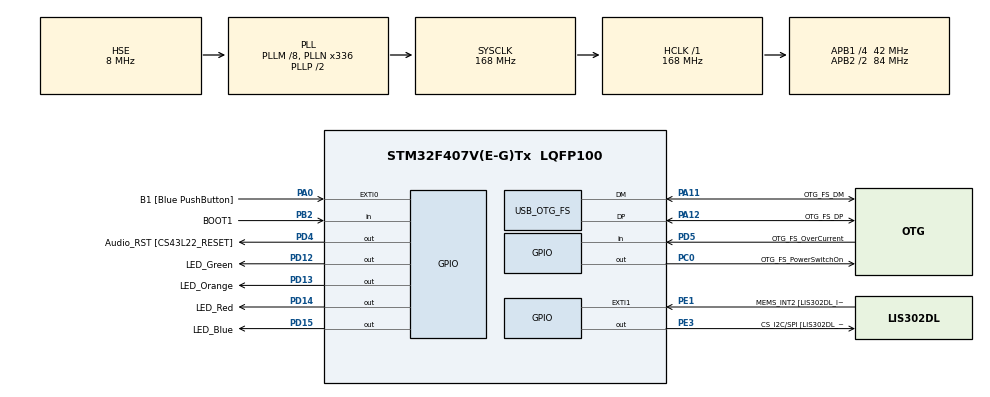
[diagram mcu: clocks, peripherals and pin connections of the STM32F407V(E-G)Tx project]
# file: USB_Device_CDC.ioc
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Mcu.Family=STM32F4
Mcu.Name=STM32F407V(E-G)Tx
Mcu.Package=LQFP100
NVIC.OTG_FS_IRQn=true\:0\:0\:false\:false\:true\:true\:true\:true
NVIC.PriorityGroup=NVIC_PRIORITYGROUP_0
NVIC.TIM1_UP_TIM10_IRQn=true\:0\:0\:false\:false\:true\:true\:true\:true
PA0-WKUP.GPIO_Label=B1 [Blue PushButton]
PA0-WKUP.GPIO_ModeDefaultEXTI=GPIO_MODE_EVT_RISING
PA0-WKUP.GPIO_PuPd=GPIO_NOPULL
PA0-WKUP.Signal=GPXTI0
PA10.GPIO_Label=OTG_FS_ID
PA10.GPIO_Mode=GPIO_MODE_AF_PP
PA10.GPIO_PuPd=GPIO_NOPULL
PA10.GPIO_Speed=GPIO_SPEED_FREQ_LOW
PA10.Signal=USB_OTG_FS_ID
PA11.GPIO_Label=OTG_FS_DM
PA11.GPIO_Mode=GPIO_MODE_AF_PP
PA11.GPIO_PuPd=GPIO_NOPULL
PA11.GPIO_Speed=GPIO_SPEED_FREQ_LOW
PA11.Mode=Device_Only
PA11.Signal=USB_OTG_FS_DM
PA12.GPIO_Label=OTG_FS_DP
PA12.GPIO_Mode=GPIO_MODE_AF_PP
PA12.GPIO_PuPd=GPIO_NOPULL
PA12.GPIO_Speed=GPIO_SPEED_FREQ_LOW
PA12.Mode=Device_Only
PA12.Signal=USB_OTG_FS_DP
PA13.GPIO_Label=SWDIO
PA13.Mode=Serial_Wire
PA13.Signal=SYS_JTMS-SWDIO
PA14.GPIO_Label=SWCLK
PA14.Mode=Serial_Wire
PA14.Signal=SYS_JTCK-SWCLK
PA4.GPIO_Label=I2S3_WS [CS43L22_LRCK]
PA4.GPIO_Mode=GPIO_MODE_AF_PP
PA4.GPIO_PuPd=GPIO_NOPULL
PA4.GPIO_Speed=GPIO_SPEED_FREQ_LOW
PA4.Signal=I2S3_WS
PA5.GPIO_Label=SPI1_SCK [LIS302DL_SCL/SPC]
PA5.GPIO_Mode=GPIO_MODE_AF_PP
PA5.GPIO_PuPd=GPIO_NOPULL
PA5.GPIO_Speed=GPIO_SPEED_FREQ_LOW
PA5.Signal=SPI1_SCK
PA6.GPIO_Label=SPI1_MISO [LIS302DL_SDO]
PA6.GPIO_Mode=GPIO_MODE_AF_PP
PA6.GPIO_PuPd=GPIO_NOPULL
PA6.GPIO_Speed=GPIO_SPEED_FREQ_LOW
PA6.Signal=SPI1_MISO
PA7.GPIO_Label=SPI1_MOSI [LIS302DL_SDA/SDI/SDO]
PA7.GPIO_Mode=GPIO_MODE_AF_PP
PA7.GPIO_PuPd=GPIO_NOPULL
PA7.GPIO_Speed=GPIO_SPEED_FREQ_LOW
PA7.Signal=SPI1_MOSI
PA9.GPIO_Label=VBUS_FS
PA9.GPIO_Mode=GPIO_MODE_INPUT
PA9.GPIO_PuPd=GPIO_NOPULL
PA9.Signal=USB_OTG_FS_VBUS
PB10.GPIO_Label=CLK_IN [MP45DT02_CLK]
PB10.GPIO_Mode=GPIO_MODE_AF_PP
PB10.GPIO_PuPd=GPIO_NOPULL
PB10.GPIO_Speed=GPIO_SPEED_FREQ_LOW
PB10.Signal=I2S2_CK
PB2.GPIO_Label=BOOT1
PB2.GPIO_Mode=GPIO_MODE_INPUT
PB2.GPIO_PuPd=GPIO_NOPULL
PB2.Signal=GPIO_Input
PB3.GPIO_Label=SWO
PB3.Signal=SYS_JTDO-SWO
PB6.GPIO_Label=Audio_SCL [CS43L22_SCL]
PB6.GPIO_Mode=GPIO_MODE_AF_OD
PB6.GPIO_Pu=GPIO_PULLUP
PB6.GPIO_PuPd=GPIO_NOPULL
PB6.GPIO_Speed=GPIO_SPEED_FREQ_LOW
PB6.Signal=I2C1_SCL
PB9.GPIO_Label=Audio_SDA [CS43L22_SDA]
PB9.GPIO_Mode=GPIO_MODE_AF_OD
PB9.GPIO_Pu=GPIO_PULLUP
PB9.GPIO_PuPd=GPIO_NOPULL
PB9.GPIO_Speed=GPIO_SPEED_FREQ_LOW
PB9.Signal=I2C1_SDA
PC0.GPIO_Label=OTG_FS_PowerSwitchOn
PC0.GPIO_PuPd=GPIO_NOPULL
PC0.GPIO_Speed=GPIO_SPEED_FREQ_LOW
PC0.PinState=GPIO_PIN_SET
PC0.Signal=GPIO_Output
PC10.GPIO_Label=I2S3_SCK [CS43L22_SCLK]
PC10.GPIO_Mode=GPIO_MODE_AF_PP
PC10.GPIO_PuPd=GPIO_NOPULL
PC10.GPIO_Speed=GPIO_SPEED_FREQ_LOW
PC10.Signal=I2S3_CK
PC12.GPIO_Label=I2S3_SD [CS43L22_SDIN]
PC12.GPIO_Mode=GPIO_MODE_AF_PP
PC12.GPIO_PuPd=GPIO_NOPULL
PC12.GPIO_Speed=GPIO_SPEED_FREQ_LOW
PC12.Signal=I2S3_SD
PC14-OSC32_IN.GPIO_Label=PC14-OSC32_IN
PC14-OSC32_IN.Mode=LSE-External-Oscillator
PC14-OSC32_IN.Signal=RCC_OSC32_IN
PC15-OSC32_OUT.GPIO_Label=PC15-OSC32_OUT
PC15-OSC32_OUT.Mode=LSE-External-Oscillator
PC15-OSC32_OUT.Signal=RCC_OSC32_OUT
PC3.GPIO_Label=PDM_OUT [MP45DT02_DOUT]
PC3.GPIO_Mode=GPIO_MODE_AF_PP
PC3.GPIO_PuPd=GPIO_NOPULL
PC3.GPIO_Speed=GPIO_SPEED_FREQ_LOW
PC3.Signal=I2S2_SD
PC7.GPIO_Label=I2S3_MCK [CS43L22_MCLK]
PC7.GPIO_Mode=GPIO_MODE_AF_PP
PC7.GPIO_PuPd=GPIO_NOPULL
PC7.GPIO_Speed=GPIO_SPEED_FREQ_LOW
PC7.Signal=I2S3_MCK
PD12.GPIO_Label=LED_Green
PD12.GPIO_PuPd=GPIO_NOPULL
PD12.GPIO_Speed=GPIO_SPEED_FREQ_LOW
PD12.Signal=GPIO_Output
PD13.GPIO_Label=LED_Orange
PD13.GPIO_PuPd=GPIO_NOPULL
PD13.GPIO_Speed=GPIO_SPEED_FREQ_LOW
PD13.Signal=GPIO_Output
PD14.GPIO_Label=LED_Red
PD14.GPIO_PuPd=GPIO_NOPULL
PD14.GPIO_Speed=GPIO_SPEED_FREQ_LOW
PD14.Signal=GPIO_Output
PD15.GPIO_Label=LED_Blue
PD15.GPIO_PuPd=GPIO_NOPULL
PD15.GPIO_Speed=GPIO_SPEED_FREQ_LOW
PD15.Signal=GPIO_Output
PD4.GPIO_Label=Audio_RST [CS43L22_RESET]
PD4.GPIO_PuPd=GPIO_NOPULL
PD4.GPIO_Speed=GPIO_SPEED_FREQ_LOW
PD4.Signal=GPIO_Output
PD5.GPIO_Label=OTG_FS_OverCurrent
PD5.GPIO_Mode=GPIO_MODE_INPUT
PD5.GPIO_PuPd=GPIO_NOPULL
PD5.Signal=GPIO_Input
PE1.GPIO_Label=MEMS_INT2 [LIS302DL_INT2]
PE1.GPIO_ModeDefaultEXTI=GPIO_MODE_EVT_RISING
PE1.GPIO_PuPd=GPIO_NOPULL
PE1.Signal=GPXTI1
PE3.GPIO_Label=CS_I2C/SPI [LIS302DL_CS_I2C/SPI]
PE3.GPIO_PuPd=GPIO_NOPULL
PE3.GPIO_Speed=GPIO_SPEED_FREQ_LOW
PE3.Signal=GPIO_Output
PH0-OSC_IN.GPIO_Label=PH0-OSC_IN
PH0-OSC_IN.Mode=HSE-External-Oscillator
PH0-OSC_IN.Signal=RCC_OSC_IN
PH1-OSC_OUT.GPIO_Label=PH1-OSC_OUT
PH1-OSC_OUT.Mode=HSE-External-Oscillator
PH1-OSC_OUT.Signal=RCC_OSC_OUT
ProjectManager.HeapSize=0x200
ProjectManager.StackSize=0x400
ProjectManager.TargetToolchain=STM32CubeIDE
RCC.48MHZClocksFreq_Value=48000000
RCC.AHBFreq_Value=168000000
RCC.APB1CLKDivider=RCC_HCLK_DIV4
RCC.APB1Freq_Value=42000000
RCC.APB1TimFreq_Value=84000000
RCC.APB2CLKDivider=RCC_HCLK_DIV2
RCC.APB2Freq_Value=84000000
RCC.APB2TimFreq_Value=168000000
RCC.CortexFreq_Value=168000000
RCC.HCLKFreq_Value=168000000
RCC.HSE_VALUE=8000000
RCC.HSI_VALUE=16000000
RCC.PLLM=8
RCC.PLLN=336
RCC.PLLQ=7
RCC.SYSCLKFreq_VALUE=168000000
RCC.SYSCLKSource=RCC_SYSCLKSOURCE_PLLCLK
RCC.VCOOutputFreq_Value=336000000
TIM10.AutoReloadPreload=TIM_AUTORELOAD_PRELOAD_DISABLE
TIM10.Period=10000-1
TIM10.Prescaler=16800-1
USB_DEVICE.CLASS_NAME_FS=CDC
USB_DEVICE.VirtualMode-CDC_FS=Cdc
USB_DEVICE.VirtualModeFS=Cdc_FS
USB_OTG_FS.VirtualMode=Device_Only
VP_TIM10_VS_ClockSourceINT.Mode=Enable_Timer
VP_USB_DEVICE_VS_USB_DEVICE_CDC_FS.Mode=CDC_FS
board=STM32F407G-DISC1

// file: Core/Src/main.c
/* USER CODE BEGIN Header */
/*
******************************************************************************
* @file: main.c
* @author: Jabed-Akhtar (Github)
* @date: 2025-01-05
******************************************************************************
* Example:
* 	- Add numbers		: CALC SUM intNum1 intNum2 intNum3 ...
* 		-> CALC SUM 12 10 8 -> Summed number: 30
* 	- Subtract numbers	: CALC SUB intNum1 intNum2  intNum3 ...
* 		-> CALC SUB 12 10 5	-> Subtracted number: -3
******************************************************************************
*/
/* USER CODE END Header */
#include "main.h"
#include "usb_device.h"

/* USER CODE BEGIN Includes */
#include <stdio.h> // For sprintf
#include <stdint.h> // For uint16_t, uint32_t
#include <string.h>
#include "usbd_cdc_if.h"
/* USER CODE END Includes */

/* USER CODE BEGIN PD */
#define USB_TX_BUFFER 64
/* USER CODE END PD */

TIM_HandleTypeDef htim10;

/* USER CODE BEGIN PV */
uint8_t msg_usb_data_recvd[USB_TX_BUFFER] = "Data recvd confirmation!\r\n";
char Usb_Tx_Buffer_Periodic[USB_TX_BUFFER];
uint8_t counter_periodic = 0;
char Usb_Tx_Buffer_Calc_Ans[USB_TX_BUFFER];
/* USER CODE END PV */

void SystemClock_Config(void);
static void MX_GPIO_Init(void);
static void MX_TIM10_Init(void);
/* USER CODE BEGIN PFP */
void do_calc(char* command);
/* USER CODE END PFP */

int main(void)
{

  /* MCU Configuration--------------------------------------------------------*/

  /* Reset of all peripherals, Initializes the Flash interface and the Systick. */
  HAL_Init();

  /* Configure the system clock */
  SystemClock_Config();

  /* Initialize all configured peripherals */
  MX_GPIO_Init();
  MX_USB_DEVICE_Init();
  MX_TIM10_Init();
  /* USER CODE BEGIN 2 */
  HAL_TIM_Base_Start_IT(&htim10);
  /* USER CODE END 2 */

  /* Infinite loop */
  /* USER CODE BEGIN WHILE */
  while (1)
  {
	  __WFI();
    /* USER CODE END WHILE */

  }
}

void SystemClock_Config(void)
{
  RCC_OscInitTypeDef RCC_OscInitStruct = {0};
  RCC_ClkInitTypeDef RCC_ClkInitStruct = {0};

  /** Configure the main internal regulator output voltage
  */
  __HAL_RCC_PWR_CLK_ENABLE();
  __HAL_PWR_VOLTAGESCALING_CONFIG(PWR_REGULATOR_VOLTAGE_SCALE1);

  /** Initializes the RCC Oscillators according to the specified parameters
  * in the RCC_OscInitTypeDef structure.
  */
  RCC_OscInitStruct.OscillatorType = RCC_OSCILLATORTYPE_HSE;
  RCC_OscInitStruct.HSEState = RCC_HSE_ON;
  RCC_OscInitStruct.PLL.PLLState = RCC_PLL_ON;
  RCC_OscInitStruct.PLL.PLLSource = RCC_PLLSOURCE_HSE;
  RCC_OscInitStruct.PLL.PLLM = 8;
  RCC_OscInitStruct.PLL.PLLN = 336;
  RCC_OscInitStruct.PLL.PLLP = RCC_PLLP_DIV2;
  RCC_OscInitStruct.PLL.PLLQ = 7;
  if (HAL_RCC_OscConfig(&RCC_OscInitStruct) != HAL_OK)
  {
    Error_Handler();
  }

  /** Initializes the CPU, AHB and APB buses clocks
  */
  RCC_ClkInitStruct.ClockType = RCC_CLOCKTYPE_HCLK|RCC_CLOCKTYPE_SYSCLK
                              |RCC_CLOCKTYPE_PCLK1|RCC_CLOCKTYPE_PCLK2;
  RCC_ClkInitStruct.SYSCLKSource = RCC_SYSCLKSOURCE_PLLCLK;
  RCC_ClkInitStruct.AHBCLKDivider = RCC_SYSCLK_DIV1;
  RCC_ClkInitStruct.APB1CLKDivider = RCC_HCLK_DIV4;
  RCC_ClkInitStruct.APB2CLKDivider = RCC_HCLK_DIV2;

  if (HAL_RCC_ClockConfig(&RCC_ClkInitStruct, FLASH_LATENCY_5) != HAL_OK)
  {
    Error_Handler();
  }
}

static void MX_TIM10_Init(void)
{

  htim10.Instance = TIM10;
  htim10.Init.Prescaler = 16800-1;
  htim10.Init.CounterMode = TIM_COUNTERMODE_UP;
  htim10.Init.Period = 10000-1;
  htim10.Init.ClockDivision = TIM_CLOCKDIVISION_DIV1;
  htim10.Init.AutoReloadPreload = TIM_AUTORELOAD_PRELOAD_DISABLE;
  if (HAL_TIM_Base_Init(&htim10) != HAL_OK)
  {
    Error_Handler();
  }

}

static void MX_GPIO_Init(void)
{
  GPIO_InitTypeDef GPIO_InitStruct = {0};

  /* GPIO Ports Clock Enable */
  __HAL_RCC_GPIOE_CLK_ENABLE();
  __HAL_RCC_GPIOC_CLK_ENABLE();
  __HAL_RCC_GPIOH_CLK_ENABLE();
  __HAL_RCC_GPIOA_CLK_ENABLE();
  __HAL_RCC_GPIOB_CLK_ENABLE();
  __HAL_RCC_GPIOD_CLK_ENABLE();

  /*Configure GPIO pin Output Level */
  HAL_GPIO_WritePin(CS_I2C_SPI_GPIO_Port, CS_I2C_SPI_Pin, GPIO_PIN_RESET);

  /*Configure GPIO pin Output Level */
  HAL_GPIO_WritePin(OTG_FS_PowerSwitchOn_GPIO_Port, OTG_FS_PowerSwitchOn_Pin, GPIO_PIN_SET);

  /*Configure GPIO pin Output Level */
  HAL_GPIO_WritePin(GPIOD, LED_Green_Pin|LED_Orange_Pin|LED_Red_Pin|LED_Blue_Pin
                          |Audio_RST_Pin, GPIO_PIN_RESET);

  /*Configure GPIO pin : CS_I2C_SPI_Pin */
  GPIO_InitStruct.Pin = CS_I2C_SPI_Pin;
  GPIO_InitStruct.Mode = GPIO_MODE_OUTPUT_PP;
  GPIO_InitStruct.Pull = GPIO_NOPULL;
  GPIO_InitStruct.Speed = GPIO_SPEED_FREQ_LOW;
  HAL_GPIO_Init(CS_I2C_SPI_GPIO_Port, &GPIO_InitStruct);

  /*Configure GPIO pin : OTG_FS_PowerSwitchOn_Pin */
  GPIO_InitStruct.Pin = OTG_FS_PowerSwitchOn_Pin;
  GPIO_InitStruct.Mode = GPIO_MODE_OUTPUT_PP;
  GPIO_InitStruct.Pull = GPIO_NOPULL;
  GPIO_InitStruct.Speed = GPIO_SPEED_FREQ_LOW;
  HAL_GPIO_Init(OTG_FS_PowerSwitchOn_GPIO_Port, &GPIO_InitStruct);

  /*Configure GPIO pin : PDM_OUT_Pin */
  GPIO_InitStruct.Pin = PDM_OUT_Pin;
  GPIO_InitStruct.Mode = GPIO_MODE_AF_PP;
  GPIO_InitStruct.Pull = GPIO_NOPULL;
  GPIO_InitStruct.Speed = GPIO_SPEED_FREQ_LOW;
  GPIO_InitStruct.Alternate = GPIO_AF5_SPI2;
  HAL_GPIO_Init(PDM_OUT_GPIO_Port, &GPIO_InitStruct);

  /*Configure GPIO pin : B1_Pin */
  GPIO_InitStruct.Pin = B1_Pin;
  GPIO_InitStruct.Mode = GPIO_MODE_EVT_RISING;
  GPIO_InitStruct.Pull = GPIO_NOPULL;
  HAL_GPIO_Init(B1_GPIO_Port, &GPIO_InitStruct);

  /*Configure GPIO pin : I2S3_WS_Pin */
  GPIO_InitStruct.Pin = I2S3_WS_Pin;
  GPIO_InitStruct.Mode = GPIO_MODE_AF_PP;
  GPIO_InitStruct.Pull = GPIO_NOPULL;
  GPIO_InitStruct.Speed = GPIO_SPEED_FREQ_LOW;
  GPIO_InitStruct.Alternate = GPIO_AF6_SPI3;
  HAL_GPIO_Init(I2S3_WS_GPIO_Port, &GPIO_InitStruct);

  /*Configure GPIO pins : SPI1_SCK_Pin SPI1_MISO_Pin SPI1_MOSI_Pin */
  GPIO_InitStruct.Pin = SPI1_SCK_Pin|SPI1_MISO_Pin|SPI1_MOSI_Pin;
  GPIO_InitStruct.Mode = GPIO_MODE_AF_PP;
  GPIO_InitStruct.Pull = GPIO_NOPULL;
  GPIO_InitStruct.Speed = GPIO_SPEED_FREQ_LOW;
  GPIO_InitStruct.Alternate = GPIO_AF5_SPI1;
  HAL_GPIO_Init(GPIOA, &GPIO_InitStruct);

  /*Configure GPIO pin : BOOT1_Pin */
  GPIO_InitStruct.Pin = BOOT1_Pin;
  GPIO_InitStruct.Mode = GPIO_MODE_INPUT;
  GPIO_InitStruct.Pull = GPIO_NOPULL;
  HAL_GPIO_Init(BOOT1_GPIO_Port, &GPIO_InitStruct);

  /*Configure GPIO pin : CLK_IN_Pin */
  GPIO_InitStruct.Pin = CLK_IN_Pin;
  GPIO_InitStruct.Mode = GPIO_MODE_AF_PP;
  GPIO_InitStruct.Pull = GPIO_NOPULL;
  GPIO_InitStruct.Speed = GPIO_SPEED_FREQ_LOW;
  GPIO_InitStruct.Alternate = GPIO_AF5_SPI2;
  HAL_GPIO_Init(CLK_IN_GPIO_Port, &GPIO_InitStruct);

  /*Configure GPIO pins : LED_Green_Pin LED_Orange_Pin LED_Red_Pin LED_Blue_Pin
                           Audio_RST_Pin */
  GPIO_InitStruct.Pin = LED_Green_Pin|LED_Orange_Pin|LED_Red_Pin|LED_Blue_Pin
                          |Audio_RST_Pin;
  GPIO_InitStruct.Mode = GPIO_MODE_OUTPUT_PP;
  GPIO_InitStruct.Pull = GPIO_NOPULL;
  GPIO_InitStruct.Speed = GPIO_SPEED_FREQ_LOW;
  HAL_GPIO_Init(GPIOD, &GPIO_InitStruct);

  /*Configure GPIO pins : I2S3_MCK_Pin I2S3_SCK_Pin I2S3_SD_Pin */
  GPIO_InitStruct.Pin = I2S3_MCK_Pin|I2S3_SCK_Pin|I2S3_SD_Pin;
  GPIO_InitStruct.Mode = GPIO_MODE_AF_PP;
  GPIO_InitStruct.Pull = GPIO_NOPULL;
  GPIO_InitStruct.Speed = GPIO_SPEED_FREQ_LOW;
  GPIO_InitStruct.Alternate = GPIO_AF6_SPI3;
  HAL_GPIO_Init(GPIOC, &GPIO_InitStruct);

  /*Configure GPIO pin : OTG_FS_OverCurrent_Pin */
  GPIO_InitStruct.Pin = OTG_FS_OverCurrent_Pin;
  GPIO_InitStruct.Mode = GPIO_MODE_INPUT;
  GPIO_InitStruct.Pull = GPIO_NOPULL;
  HAL_GPIO_Init(OTG_FS_OverCurrent_GPIO_Port, &GPIO_InitStruct);

  /*Configure GPIO pins : Audio_SCL_Pin Audio_SDA_Pin */
  GPIO_InitStruct.Pin = Audio_SCL_Pin|Audio_SDA_Pin;
  GPIO_InitStruct.Mode = GPIO_MODE_AF_OD;
  GPIO_InitStruct.Pull = GPIO_PULLUP;
  GPIO_InitStruct.Speed = GPIO_SPEED_FREQ_LOW;
  GPIO_InitStruct.Alternate = GPIO_AF4_I2C1;
  HAL_GPIO_Init(GPIOB, &GPIO_InitStruct);

  /*Configure GPIO pin : MEMS_INT2_Pin */
  GPIO_InitStruct.Pin = MEMS_INT2_Pin;
  GPIO_InitStruct.Mode = GPIO_MODE_EVT_RISING;
  GPIO_InitStruct.Pull = GPIO_NOPULL;
  HAL_GPIO_Init(MEMS_INT2_GPIO_Port, &GPIO_InitStruct);

}

/* USER CODE BEGIN 4 */
/*
 * This timer runs every 1 second.
 */
void HAL_TIM_PeriodElapsedCallback(TIM_HandleTypeDef *htim)
{
	  HAL_GPIO_TogglePin(LED_Green_GPIO_Port, LED_Green_Pin);

	  // Send counter value via USB
	  sprintf(Usb_Tx_Buffer_Periodic, "Counter: %d\r\n", counter_periodic);
	  CDC_Transmit_FS(Usb_Tx_Buffer_Periodic, USB_TX_BUFFER);

	  counter_periodic++;
	  if (counter_periodic>255)
	  {
		  counter_periodic = 0;
	  }
}

/*
 * Callback function on receiving message from USB.
 */
void USB_CDC_RxHandler(uint8_t* Buf, uint32_t Len)
{
	const char target[] = "CALC";	// string to read from message for calculations

	/* Check whether the command has CALC. */
	if (memcmp(Buf, target, strlen(target)) == 0)
	{
		// Do calculation
		Buf[Len] = '\0'; // Ensure the buffer is null-terminated -> use it as string
		do_calc((char*)Buf);	// Call function to do calculation
	}
	else
	{
		CDC_Transmit_FS((uint8_t*)"No CALC command received.\r\n", USB_TX_BUFFER);
	}
}

/*
 * Function to do calculation.
 */
void do_calc(char* command)
{
	HAL_GPIO_TogglePin(LED_Blue_GPIO_Port, LED_Blue_Pin);

	char* token;
	char response[USB_TX_BUFFER];
	int result = 0;

	token = strtok(command, " ");	// Read first string i.e. CALC -> Not needed
	token = strtok(NULL, " ");		// Read second string of command

	if (strcmp(token, "SUM") == 0)
	{
		HAL_GPIO_TogglePin(LED_Orange_GPIO_Port, LED_Orange_Pin);

		result = 0;
		while((token = strtok(NULL, " ")) != NULL)
		{
			result += atoi(token);
		}

		// Send back answer
		sprintf(Usb_Tx_Buffer_Calc_Ans, "Summed number: %d\r\n", result);
		CDC_Transmit_FS(Usb_Tx_Buffer_Calc_Ans, USB_TX_BUFFER);
	}
	if (strcmp(token, "SUB") == 0)
	{
		HAL_GPIO_TogglePin(LED_Red_GPIO_Port, LED_Red_Pin);

		result = 0;
		token = strtok(NULL, " "); // Get the first number
		result = atoi(token);
		while((token = strtok(NULL, " ")) != NULL)
		{
			result -= atoi(token);
		}

		// Send back answer
		sprintf(Usb_Tx_Buffer_Calc_Ans, "Subtracted number: %d\r\n", result);
		CDC_Transmit_FS(Usb_Tx_Buffer_Calc_Ans, USB_TX_BUFFER);
	}
}
/* USER CODE END 4 */

void Error_Handler(void)
{
  __disable_irq();
  while (1)
  {
  }
}
